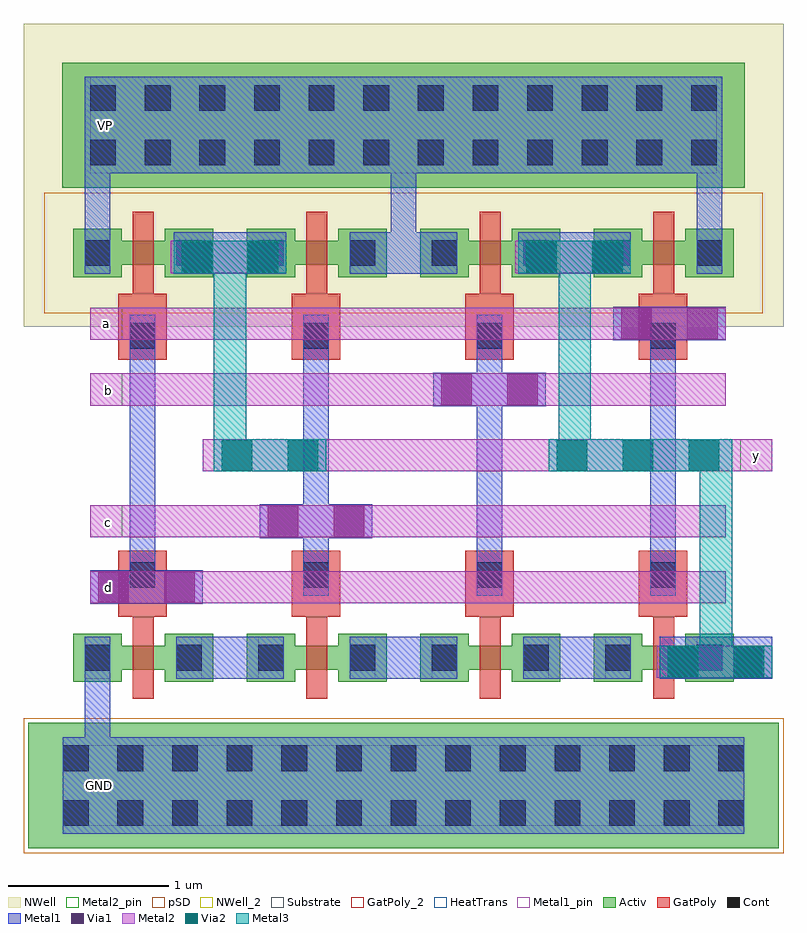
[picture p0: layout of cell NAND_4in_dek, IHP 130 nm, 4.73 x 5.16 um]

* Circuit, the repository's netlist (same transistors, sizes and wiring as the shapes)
** sch_path: /foss/designs/CHIP-PLL/schematics/divider/schematics/NAND_4in.sch
.subckt NAND_4in VP GND a y b c d
*.PININFO y:O GND:B a:I VP:B b:I c:I d:I
MM1 y a net2 GND sg13_lv_nmos w=0.15u l=0.13u ng=1
MM3 net3 c net1 GND sg13_lv_nmos w=0.15u l=0.13u ng=1
MM4 net1 d GND GND sg13_lv_nmos w=0.15u l=0.13u ng=1
MM7 y c VP VP sg13_lv_pmos w=0.15u l=0.13u ng=1
MM2 y a VP VP sg13_lv_pmos w=0.15u l=0.13u ng=1
MM5 y b VP VP sg13_lv_pmos w=0.15u l=0.13u ng=1
MM6 y d VP VP sg13_lv_pmos w=0.15u l=0.13u ng=1
MM8 net2 b net3 GND sg13_lv_nmos w=0.15u l=0.13u ng=1
.ends

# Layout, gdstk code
from math import pi, radians
import gdstk
lib = gdstk.Library(unit=1e-6, precision=1e-09)
def R(c, l, rs):  # rectangles x0, y0, x1, y1
    for r in rs: c.add(gdstk.rectangle(r[:2], r[2:], *l))
def A(c, l, x, y, w, h, nx, ny, dx, dy):  # array of equal rectangles
    R(c, l, [(x+i*dx, y+j*dy, x+i*dx+w, y+j*dy+h) for i in range(nx) for j in range(ny)])
Activ = (1, 0)
GatPoly = (5, 0)
GatPoly_2 = (5, 2)
Cont = (6, 0)
Metal1 = (8, 0)
Metal1_pin = (8, 2)
Metal2 = (10, 0)
Metal2_pin = (10, 2)
pSD = (14, 0)
Via1 = (19, 0)
Via2 = (29, 0)
Metal3 = (30, 0)
NWell = (31, 0)
NWell_2 = (31, 2)
Substrate = (40, 0)
HeatTrans = (51, 0)

ntap1 = lib.new_cell('ntap1')
R(ntap1, Activ, [(0,0,4.25,0.78)])
A(ntap1, Cont, 0.175, 0.14, 0.16, 0.16, 12, 2, 0.34, 0.34)
R(ntap1, Metal1, [(0.175,0.09,4.075,0.69)])
R(ntap1, Metal1_pin, [(0.175,0.09,4.075,0.69), (0.175,0.14,4.075,0.64)])
R(ntap1, NWell, [(-0.24,-0.24,4.49,1.02), (0,0,4.25,0.78)])
R(ntap1, NWell_2, [(0,0,4.25,0.78)])
ntap1.add(gdstk.Label('well', (2.125,0.01), layer=63, texttype=0))
ntap1.add(gdstk.Label('well', (2.125,0.01), layer=31, texttype=0))

ptap1 = lib.new_cell('ptap1')
R(ptap1, Activ, [(0,0,4.67,0.78)])
A(ptap1, Cont, 0.215, 0.14, 0.16, 0.16, 13, 2, 0.34, 0.34)
R(ptap1, Metal1, [(0.215,0.09,4.455,0.69), (0.215,0.14,4.455,0.64)])
R(ptap1, Metal1_pin, [(0.215,0.14,4.455,0.64)])
R(ptap1, pSD, [(-0.03,-0.03,4.7,0.81)])
R(ptap1, Substrate, [(0,0,4.67,0.78)])
ptap1.add(gdstk.Label('sub!', (2.335,0.01), layer=63, texttype=0))
ptap1.add(gdstk.Label('sub!', (2.335,0.01), layer=40, texttype=0))

nmos = lib.new_cell('nmos')
R(nmos, Activ, [(0,0,0.3,0.3), (0.57,0,0.87,0.3), (0,0.075,0.87,0.225)])
R(nmos, GatPoly, [(0.37,-0.105,0.5,0.405)])
R(nmos, GatPoly_2, [(0.37,-0.105,0.5,0.405)])
R(nmos, Cont, [(0.07,0.07,0.23,0.23), (0.64,0.07,0.8,0.23)])
R(nmos, Metal1, [(0.07,0.02,0.23,0.28), (0.64,0.02,0.8,0.28)])
R(nmos, Metal1_pin, [(0.07,0.02,0.23,0.28), (0.64,0.02,0.8,0.28)])
R(nmos, HeatTrans, [(0.37,-0.105,0.5,0.405)])
nmos.add(gdstk.Label('nmos', (0.435,0.15), layer=63, texttype=0))
nmos.add(gdstk.Label('nmos', (0.435,0.15), layer=51, texttype=0))

pmos = lib.new_cell('pmos')
R(pmos, Activ, [(0,0,0.3,0.3), (0.57,0,0.87,0.3), (0,0.075,0.87,0.225)])
R(pmos, GatPoly, [(0.37,-0.105,0.5,0.405), (0.37,-0.105,0.5,0.405)])
R(pmos, Cont, [(0.07,0.07,0.23,0.23), (0.64,0.07,0.8,0.23)])
R(pmos, Metal1, [(0.07,0.02,0.23,0.28), (0.07,0.02,0.23,0.28), (0.64,0.02,0.8,0.28), (0.64,0.02,0.8,0.28)])
R(pmos, pSD, [(-0.18,-0.225,1.05,0.525)])
R(pmos, NWell, [(-0.31,-0.31,1.18,0.61)])
R(pmos, HeatTrans, [(0.37,-0.105,0.5,0.405)])
pmos.add(gdstk.Label('pmos', (0.435,0.15), layer=63, texttype=0))
pmos.add(gdstk.Label('pmos', (0.435,0.15), layer=51, texttype=0))

via = lib.new_cell('Via')
R(via, GatPoly, [(-0.15,-0.15,0.15,0.15)])
R(via, Cont, [(-0.08,-0.08,0.08,0.08)])
R(via, Metal1, [(-0.13,-0.08,0.13,0.08)])

via_2 = lib.new_cell('Via$2')
R(via_2, Metal1, [(-0.105,-0.35,0.105,0.35)])
R(via_2, Metal2, [(-0.1,-0.35,0.1,0.35)])
R(via_2, Via1, [(-0.095,-0.3,0.095,-0.11), (-0.095,0.11,0.095,0.3)])

via_8 = lib.new_cell('Via$8')
R(via_8, Metal2, [(-0.35,-0.1,0.35,0.1)])
R(via_8, Via2, [(-0.3,-0.095,-0.11,0.095), (0.11,-0.095,0.3,0.095)])
R(via_8, Metal3, [(-0.35,-0.1,0.35,0.1)])

via_4 = lib.new_cell('Via$4')
R(via_4, Metal2, [(-0.1,-0.35,0.1,0.35)])
R(via_4, Via2, [(-0.095,-0.3,0.095,-0.11), (-0.095,0.11,0.095,0.3)])
R(via_4, Metal3, [(-0.1,-0.35,0.1,0.35)])

via_6 = lib.new_cell('Via$6')
R(via_6, Metal1, [(-0.35,-0.105,0.35,0.105)])
R(via_6, Metal2, [(-0.35,-0.1,0.35,0.1)])
R(via_6, Via1, [(-0.3,-0.095,-0.11,0.095), (0.11,-0.095,0.3,0.095)])

via_9 = lib.new_cell('Via$9')
R(via_9, Metal2, [(-0.555,-0.1,0.555,0.1)])
A(via_9, Via2, -0.505, -0.095, 0.19, 0.19, 3, 1, 0.41, 0)
R(via_9, Metal3, [(-0.555,-0.1,0.555,0.1)])

nand_4in_dek = lib.new_cell('NAND_4in_dek')
A(nand_4in_dek, GatPoly, 9.375, 7.165, 0.3, 0.11, 4, 2, 1.08, 1.9)
A(nand_4in_dek, Metal1, 9.735, 6.78, 0.67, 0.26, 3, 1, 1.08, 0)
R(nand_4in_dek, Metal1, [(12.745,6.78,13.445,7.04), (9.72,9.3,10.42,9.56), (10.815,9.3,11.485,9.56), (11.865,9.3,12.565,9.56)])
R(nand_4in_dek, Metal1_pin, [(9.16,6.015,9.36,6.215), (9.325,10.12,9.525,10.32)])
R(nand_4in_dek, Metal2_pin, [(9.2,7.25,9.4,7.45), (9.2,7.66,9.4,7.86), (13.245,8.07,13.445,8.27), (9.2,8.48,9.4,8.68), (9.2,8.89,9.4,9.09)])
nand_4in_dek.add(gdstk.FlexPath([(9.9,8.17),(13.445,8.17)], 0.2, ends="flush", simple_path=True, layer=10, datatype=0))  # Metal2
nand_4in_dek.add(gdstk.FlexPath([(12.89,6.885),(12.725,6.885)], 0.2, ends="flush", simple_path=True, layer=10, datatype=0))  # Metal2
nand_4in_dek.add(gdstk.FlexPath([(12.01,9.405),(11.845,9.405)], 0.2, ends="flush", simple_path=True, layer=10, datatype=0))  # Metal2
nand_4in_dek.add(gdstk.FlexPath([(9.2,7.76),(13.155,7.76)], 0.2, ends="flush", simple_path=True, layer=10, datatype=0))  # Metal2
nand_4in_dek.add(gdstk.FlexPath([(9.2,7.35),(13.155,7.35)], 0.2, ends="flush", simple_path=True, layer=10, datatype=0))  # Metal2
nand_4in_dek.add(gdstk.FlexPath([(9.2,8.99),(13.155,8.99)], 0.2, ends="flush", simple_path=True, layer=10, datatype=0))  # Metal2
nand_4in_dek.add(gdstk.FlexPath([(9.2,8.58),(13.155,8.58)], 0.2, ends="flush", simple_path=True, layer=10, datatype=0))  # Metal2
nand_4in_dek.add(gdstk.FlexPath([(9.865,9.405),(9.7,9.405)], 0.2, ends="flush", simple_path=True, layer=10, datatype=0))  # Metal2
nand_4in_dek.add(gdstk.FlexPath([(10.43,8.58),(10.43,8.58)], 0.2, ends="flush", simple_path=True, layer=10, datatype=0))  # Metal2
nand_4in_dek.add(gdstk.FlexPath([(12.215,9.405),(12.215,8.07)], 0.2, ends="flush", simple_path=True, layer=30, datatype=0))  # Metal3
nand_4in_dek.add(gdstk.FlexPath([(13.095,6.885),(13.095,8.27)], 0.2, ends="flush", simple_path=True, layer=30, datatype=0))  # Metal3
nand_4in_dek.add(gdstk.FlexPath([(10.07,9.305),(10.07,8.07)], 0.2, ends="flush", simple_path=True, layer=30, datatype=0))  # Metal3
nand_4in_dek.add(gdstk.FlexPath([(13.055,9.56),(13.055,10.525)], 0.16, ends="flush", simple_path=True, layer=8, datatype=0))  # Metal1
nand_4in_dek.add(gdstk.FlexPath([(12.765,7.555),(12.765,8.785)], 0.16, ends="flush", simple_path=True, layer=8, datatype=0))  # Metal1
nand_4in_dek.add(gdstk.FlexPath([(11.685,7.555),(11.685,8.785)], 0.16, ends="flush", simple_path=True, layer=8, datatype=0))  # Metal1
nand_4in_dek.add(gdstk.FlexPath([(11.15,9.56),(11.15,9.925)], 0.16, ends="flush", simple_path=True, layer=8, datatype=0))  # Metal1
nand_4in_dek.add(gdstk.FlexPath([(9.245,9.56),(9.245,10.525)], 0.16, ends="flush", simple_path=True, layer=8, datatype=0))  # Metal1
nand_4in_dek.add(gdstk.FlexPath([(9.245,6.78),(9.245,6.415)], 0.16, ends="flush", simple_path=True, layer=8, datatype=0))  # Metal1
nand_4in_dek.add(gdstk.FlexPath([(9.525,7.555),(9.525,8.785)], 0.16, ends="flush", simple_path=True, layer=8, datatype=0))  # Metal1
nand_4in_dek.add(gdstk.FlexPath([(10.605,7.555),(10.605,8.785)], 0.16, ends="flush", simple_path=True, layer=8, datatype=0))  # Metal1
nand_4in_dek.add(gdstk.Reference(ntap1, (9.025,9.835)))
nand_4in_dek.add(gdstk.Reference(ptap1, (8.815,5.725)))
nand_4in_dek.add(gdstk.Reference(nmos, (10.175,6.76)))
nand_4in_dek.add(gdstk.Reference(pmos, (10.175,9.28)))
nand_4in_dek.add(gdstk.Reference(nmos, (9.095,6.76)))
nand_4in_dek.add(gdstk.Reference(pmos, (9.095,9.28)))
nand_4in_dek.add(gdstk.Reference(via, (9.525,8.915), rotation=pi/2))
nand_4in_dek.add(gdstk.Reference(via, (10.605,8.915), rotation=pi/2))
nand_4in_dek.add(gdstk.Reference(via, (10.605,7.425), rotation=3*pi/2))
nand_4in_dek.add(gdstk.Reference(via, (9.525,7.425), rotation=3*pi/2))
nand_4in_dek.add(gdstk.Reference(via_2, (11.685,8.58), rotation=3*pi/2))
nand_4in_dek.add(gdstk.Reference(via_8, (10.32,8.17)))
nand_4in_dek.add(gdstk.Reference(via_2, (10.07,9.405), rotation=3*pi/2))
nand_4in_dek.add(gdstk.Reference(via_4, (10.07,9.405), rotation=3*pi/2))
nand_4in_dek.add(gdstk.Reference(via_6, (12.805,8.99)))
nand_4in_dek.add(gdstk.Reference(pmos, (11.255,9.28)))
nand_4in_dek.add(gdstk.Reference(nmos, (11.255,6.76)))
nand_4in_dek.add(gdstk.Reference(via, (11.685,8.915), rotation=pi/2))
nand_4in_dek.add(gdstk.Reference(via, (11.685,7.425), rotation=3*pi/2))
nand_4in_dek.add(gdstk.Reference(via_2, (10.605,7.76), rotation=3*pi/2))
nand_4in_dek.add(gdstk.Reference(via_2, (12.215,9.405), rotation=3*pi/2))
nand_4in_dek.add(gdstk.Reference(via_4, (12.215,9.405), rotation=3*pi/2))
nand_4in_dek.add(gdstk.Reference(via_2, (13.095,6.885), rotation=3*pi/2))
nand_4in_dek.add(gdstk.Reference(via_4, (13.095,6.885), rotation=3*pi/2))
nand_4in_dek.add(gdstk.Reference(via_9, (12.61,8.17)))
nand_4in_dek.add(gdstk.Reference(via_2, (9.55,7.35), rotation=3*pi/2))
nand_4in_dek.add(gdstk.Reference(pmos, (12.335,9.28)))
nand_4in_dek.add(gdstk.Reference(nmos, (12.335,6.76)))
nand_4in_dek.add(gdstk.Reference(via, (12.765,8.915), rotation=pi/2))
nand_4in_dek.add(gdstk.Reference(via, (12.765,7.425), rotation=3*pi/2))
nand_4in_dek.add(gdstk.Label('d', (9.315,7.345), layer=10, texttype=25))
nand_4in_dek.add(gdstk.Label('y', (13.345,8.17), layer=10, texttype=25))
nand_4in_dek.add(gdstk.Label('c', (9.315,7.755), layer=10, texttype=25))
nand_4in_dek.add(gdstk.Label('b', (9.315,8.575), layer=10, texttype=25))
nand_4in_dek.add(gdstk.Label('a', (9.3,8.99), layer=10, texttype=25))
nand_4in_dek.add(gdstk.Label('VP', (9.295,10.22), layer=8, texttype=25))
nand_4in_dek.add(gdstk.Label('GND', (9.26,6.115), layer=8, texttype=25))

lib.write_gds('NAND_4in_dek.gds')
